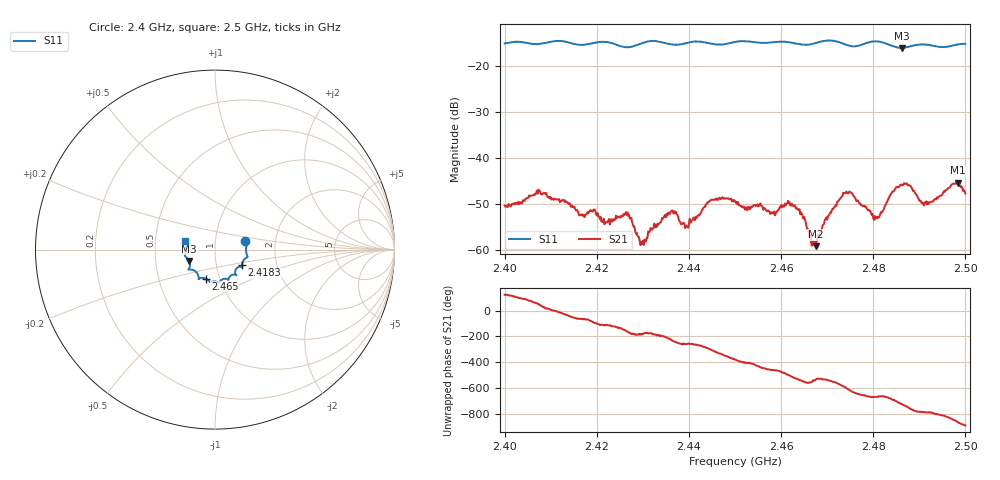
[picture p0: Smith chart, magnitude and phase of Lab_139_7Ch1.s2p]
# Hz S RI R 50
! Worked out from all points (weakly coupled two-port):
!   601 points, 2.4 GHz to 2.5 GHz, reference 50 ohm
!   highest |S21| = -45.32 dB at 2.4983 GHz (marker M1); lowest = -59.1 dB at 2.4675 GHz (marker M2)
!   lowest |S11| = -16.1 dB at 2.4862 GHz (marker M3), VSWR 1.37, Z = 37.2 - j4.81 ohm
!   |S11| at or under -10 dB: start of sweep to end of sweep
!   S12 and S22 are empty: the file has one direction only
!   S11 on the Smith chart (normalised r, x): 2.4 GHz: 1.40, +0.13; 2.4183 GHz: 1.33, -0.24; 2.465 GHz: 0.86, -0.28; 2.5 GHz: 0.71, +0.07
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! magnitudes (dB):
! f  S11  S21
! 2.4 GHz  -15.1  -50.3
! 2.4073 GHz  -15.3  -46.8
! 2.4167 GHz  -15.4  -52.4
! 2.4183 GHz  -15.2  -51.6
! 2.4265 GHz  -16.0  -52.3
! 2.4298 GHz  -15.1  -58.6
! 2.4333 GHz  -14.7  -54.5
! 2.4395 GHz  -15.0  -54.8
! 2.4448 GHz  -15.2  -49.0
! 2.45 GHz  -14.8  -49.3
! 2.4582 GHz  -14.9  -51.9
! 2.4618 GHz  -14.9  -49.6
! 2.465 GHz  -15.4  -52.7
! 2.4667 GHz  -15.3  -59.0
! 2.4675 GHz  -15.0  -59.1
! 2.4738 GHz  -15.3  -47.5
! 2.4805 GHz  -14.7  -53.1
! 2.4833 GHz  -15.3  -48.7
! 2.4862 GHz  -16.1  -45.7
! 2.4912 GHz  -15.3  -49.6
! 2.4983 GHz  -15.3  -45.3
! 2.5 GHz  -15.2  -47.7
